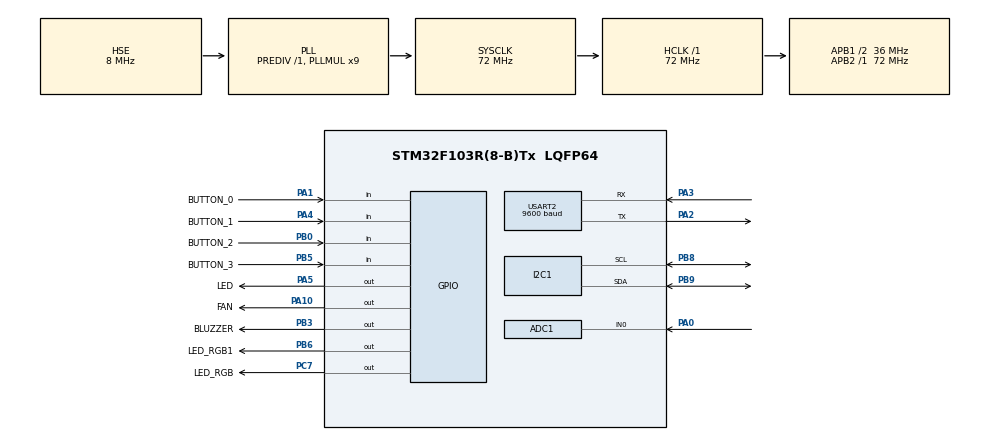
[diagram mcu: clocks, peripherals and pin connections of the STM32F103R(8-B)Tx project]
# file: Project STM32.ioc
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ADC1.Channel-0\#ChannelRegularConversion=ADC_CHANNEL_0
ADC1.ContinuousConvMode=ENABLE
ADC1.NbrOfConversionFlag=1
ADC1.Rank-0\#ChannelRegularConversion=1
ADC1.SamplingTime-0\#ChannelRegularConversion=ADC_SAMPLETIME_1CYCLE_5
ADC1.master=1
Mcu.Family=STM32F1
Mcu.Name=STM32F103R(8-B)Tx
Mcu.Package=LQFP64
NVIC.PriorityGroup=NVIC_PRIORITYGROUP_4
NVIC.TIM2_IRQn=true\:0\:0\:false\:false\:true\:true\:true\:true
NVIC.USART2_IRQn=true\:0\:0\:false\:false\:true\:true\:true\:true
PA0-WKUP.Signal=ADCx_IN0
PA1.GPIO_Label=BUTTON_0
PA1.GPIO_PuPd=GPIO_PULLUP
PA1.Signal=GPIO_Input
PA10.GPIO_Label=FAN
PA10.GPIO_ModeDefaultOutputPP=GPIO_MODE_OUTPUT_PP
PA10.GPIO_PuPd=GPIO_PULLUP
PA10.GPIO_Speed=GPIO_SPEED_FREQ_LOW
PA10.PinState=GPIO_PIN_SET
PA10.Signal=GPIO_Output
PA13.Mode=Serial_Wire
PA13.Signal=SYS_JTMS-SWDIO
PA14.Mode=Serial_Wire
PA14.Signal=SYS_JTCK-SWCLK
PA2.Mode=Asynchronous
PA2.Signal=USART2_TX
PA3.Mode=Asynchronous
PA3.Signal=USART2_RX
PA4.GPIO_Label=BUTTON_1
PA4.GPIO_PuPd=GPIO_PULLUP
PA4.Signal=GPIO_Input
PA5.GPIO_Label=LED
PA5.GPIO_PuPd=GPIO_PULLUP
PA5.Signal=GPIO_Output
PB0.GPIO_Label=BUTTON_2
PB0.GPIO_PuPd=GPIO_PULLUP
PB0.Signal=GPIO_Input
PB3.GPIO_Label=BLUZZER
PB3.GPIO_ModeDefaultOutputPP=GPIO_MODE_OUTPUT_PP
PB3.GPIO_PuPd=GPIO_PULLUP
PB3.Signal=GPIO_Output
PB5.GPIO_Label=BUTTON_3
PB5.GPIO_PuPd=GPIO_PULLUP
PB5.Signal=GPIO_Input
PB6.GPIO_Label=LED_RGB1
PB6.GPIO_PuPd=GPIO_PULLUP
PB6.Signal=GPIO_Output
PB8.GPIO_Speed=GPIO_SPEED_FREQ_HIGH
PB8.Mode=I2C
PB8.Signal=I2C1_SCL
PB9.Mode=I2C
PB9.Signal=I2C1_SDA
PC7.GPIO_Label=LED_RGB
PC7.GPIO_PuPd=GPIO_PULLUP
PC7.Signal=GPIO_Output
PD0-OSC_IN.Mode=HSE-External-Oscillator
PD0-OSC_IN.Signal=RCC_OSC_IN
PD1-OSC_OUT.Mode=HSE-External-Oscillator
PD1-OSC_OUT.Signal=RCC_OSC_OUT
ProjectManager.HeapSize=0x200
ProjectManager.StackSize=0x400
ProjectManager.TargetToolchain=STM32CubeIDE
RCC.AHBFreq_Value=72000000
RCC.APB1CLKDivider=RCC_HCLK_DIV2
RCC.APB1Freq_Value=36000000
RCC.APB1TimFreq_Value=72000000
RCC.APB2Freq_Value=72000000
RCC.APB2TimFreq_Value=72000000
RCC.HCLKFreq_Value=72000000
RCC.PLLMUL=RCC_PLL_MUL9
RCC.PLLSourceVirtual=RCC_PLLSOURCE_HSE
RCC.SYSCLKFreq_VALUE=72000000
RCC.SYSCLKSource=RCC_SYSCLKSOURCE_PLLCLK
RCC.USBFreq_Value=72000000
SH.ADCx_IN0.0=ADC1_IN0,IN0
TIM2.Period=99
TIM2.Prescaler=7199
USART2.BaudRate=9600
USART2.VirtualMode=VM_ASYNC
VP_TIM2_VS_ClockSourceINT.Mode=Internal
board=custom

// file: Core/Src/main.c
/* USER CODE BEGIN Header */
/**
  ******************************************************************************
  * @file           : main.c
  * @brief          : Main program body
  ******************************************************************************
  * @attention
  *
  * <h2><center>&copy; Copyright (c) 2022 STMicroelectronics.
  * All rights reserved.</center></h2>
  *
  * This software component is licensed by ST under BSD 3-Clause license,
  * the "License"; You may not use this file except in compliance with the
  * License. You may obtain a copy of the License at:
  *                        opensource.org/licenses/BSD-3-Clause
  *
  ******************************************************************************
  */
/* USER CODE END Header */

#include "main.h"

/* USER CODE BEGIN Includes */
#include "software_timer.h"
#include "i2c-lcd.h"
#include "dht20.h"
#include "uart_reading.h"
#include "output_led.h"
#include "scheduler.h"
#include "rain_sensor.h"
#include <stdio.h>
#include "input_button.h"
#include <stdlib.h>
#include "manual_fsm.h"
/* USER CODE END Includes */

/* USER CODE BEGIN PTD */

uint8_t buttonState = 0;

/* USER CODE END PTD */

ADC_HandleTypeDef hadc1;

I2C_HandleTypeDef hi2c1;

TIM_HandleTypeDef htim2;

UART_HandleTypeDef huart2;

void SystemClock_Config(void);
static void MX_GPIO_Init(void);
static void MX_I2C1_Init(void);
static void MX_USART2_UART_Init(void);
static void MX_TIM2_Init(void);
static void MX_ADC1_Init(void);
void send_data(void);

/* USER CODE BEGIN 0 */
void HAL_UART_RxCpltCallback(UART_HandleTypeDef *huart){
	if (huart->Instance == USART2){
		HAL_UART_Transmit(&huart2, &buffer_byte, 1, 500);
		buffer[index_buffer] = buffer_byte;
		index_buffer++;
		if (index_buffer == MAX_BUFFER_SIZE) index_buffer = 0;
		buffer_flag = 1;
		HAL_UART_Receive_IT(&huart2, &buffer_byte, 1);
	}
}
/* USER CODE END 0 */

int main(void)
{

  /* MCU Configuration--------------------------------------------------------*/

  /* Reset of all peripherals, Initializes the Flash interface and the Systick. */
  HAL_Init();

  /* Configure the system clock */
  SystemClock_Config();

  /* Initialize all configured peripherals */
  MX_GPIO_Init();
  MX_I2C1_Init();
  MX_USART2_UART_Init();
  MX_TIM2_Init();
  MX_ADC1_Init();
  /* USER CODE BEGIN 2 */
  HAL_TIM_Base_Start_IT(&htim2);

  HAL_UART_Receive_IT(&huart2, &buttonState, 1);
  HAL_ADC_Start(&hadc1);
  Scan_Addr(); //Scan the address of I2C device
  /* USER CODE END 2 */

  /* Infinite loop */
  /* USER CODE BEGIN WHILE */

  lcd_greeting();
  init_read();
  fsmInit();
  timerSet(300,3);
  SCH_AddTask(notification_lights,0,100);
  SCH_AddTask(commandParser,0,100);
  SCH_AddTask(send_data,0,500);
  SCH_AddTask(fsmRun,0,10);

  while (1)
  {
	  /* USER CODE END WHILE */
	  SCH_Dispatch();
  }
}

void SystemClock_Config(void)
{
  RCC_OscInitTypeDef RCC_OscInitStruct = {0};
  RCC_ClkInitTypeDef RCC_ClkInitStruct = {0};
  RCC_PeriphCLKInitTypeDef PeriphClkInit = {0};

  /** Initializes the RCC Oscillators according to the specified parameters
  * in the RCC_OscInitTypeDef structure.
  */
  RCC_OscInitStruct.OscillatorType = RCC_OSCILLATORTYPE_HSE;
  RCC_OscInitStruct.HSEState = RCC_HSE_ON;
  RCC_OscInitStruct.HSEPredivValue = RCC_HSE_PREDIV_DIV1;
  RCC_OscInitStruct.HSIState = RCC_HSI_ON;
  RCC_OscInitStruct.PLL.PLLState = RCC_PLL_ON;
  RCC_OscInitStruct.PLL.PLLSource = RCC_PLLSOURCE_HSE;
  RCC_OscInitStruct.PLL.PLLMUL = RCC_PLL_MUL9;
  if (HAL_RCC_OscConfig(&RCC_OscInitStruct) != HAL_OK)
  {
    Error_Handler();
  }

  /** Initializes the CPU, AHB and APB buses clocks
  */
  RCC_ClkInitStruct.ClockType = RCC_CLOCKTYPE_HCLK|RCC_CLOCKTYPE_SYSCLK
                              |RCC_CLOCKTYPE_PCLK1|RCC_CLOCKTYPE_PCLK2;
  RCC_ClkInitStruct.SYSCLKSource = RCC_SYSCLKSOURCE_PLLCLK;
  RCC_ClkInitStruct.AHBCLKDivider = RCC_SYSCLK_DIV1;
  RCC_ClkInitStruct.APB1CLKDivider = RCC_HCLK_DIV2;
  RCC_ClkInitStruct.APB2CLKDivider = RCC_HCLK_DIV1;

  if (HAL_RCC_ClockConfig(&RCC_ClkInitStruct, FLASH_LATENCY_2) != HAL_OK)
  {
    Error_Handler();
  }
  PeriphClkInit.PeriphClockSelection = RCC_PERIPHCLK_ADC;
  PeriphClkInit.AdcClockSelection = RCC_ADCPCLK2_DIV2;
  if (HAL_RCCEx_PeriphCLKConfig(&PeriphClkInit) != HAL_OK)
  {
    Error_Handler();
  }
}

static void MX_ADC1_Init(void)
{

  ADC_ChannelConfTypeDef sConfig = {0};

  /** Common config
  */
  hadc1.Instance = ADC1;
  hadc1.Init.ScanConvMode = ADC_SCAN_DISABLE;
  hadc1.Init.ContinuousConvMode = ENABLE;
  hadc1.Init.DiscontinuousConvMode = DISABLE;
  hadc1.Init.ExternalTrigConv = ADC_SOFTWARE_START;
  hadc1.Init.DataAlign = ADC_DATAALIGN_RIGHT;
  hadc1.Init.NbrOfConversion = 1;
  if (HAL_ADC_Init(&hadc1) != HAL_OK)
  {
    Error_Handler();
  }

  /** Configure Regular Channel
  */
  sConfig.Channel = ADC_CHANNEL_0;
  sConfig.Rank = ADC_REGULAR_RANK_1;
  sConfig.SamplingTime = ADC_SAMPLETIME_1CYCLE_5;
  if (HAL_ADC_ConfigChannel(&hadc1, &sConfig) != HAL_OK)
  {
    Error_Handler();
  }

}

static void MX_I2C1_Init(void)
{

  hi2c1.Instance = I2C1;
  hi2c1.Init.ClockSpeed = 100000;
  hi2c1.Init.DutyCycle = I2C_DUTYCYCLE_2;
  hi2c1.Init.OwnAddress1 = 0;
  hi2c1.Init.AddressingMode = I2C_ADDRESSINGMODE_7BIT;
  hi2c1.Init.DualAddressMode = I2C_DUALADDRESS_DISABLE;
  hi2c1.Init.OwnAddress2 = 0;
  hi2c1.Init.GeneralCallMode = I2C_GENERALCALL_DISABLE;
  hi2c1.Init.NoStretchMode = I2C_NOSTRETCH_DISABLE;
  if (HAL_I2C_Init(&hi2c1) != HAL_OK)
  {
    Error_Handler();
  }

}

static void MX_TIM2_Init(void)
{

  TIM_ClockConfigTypeDef sClockSourceConfig = {0};
  TIM_MasterConfigTypeDef sMasterConfig = {0};

  htim2.Instance = TIM2;
  htim2.Init.Prescaler = 7199;
  htim2.Init.CounterMode = TIM_COUNTERMODE_UP;
  htim2.Init.Period = 99;
  htim2.Init.ClockDivision = TIM_CLOCKDIVISION_DIV1;
  htim2.Init.AutoReloadPreload = TIM_AUTORELOAD_PRELOAD_DISABLE;
  if (HAL_TIM_Base_Init(&htim2) != HAL_OK)
  {
    Error_Handler();
  }
  sClockSourceConfig.ClockSource = TIM_CLOCKSOURCE_INTERNAL;
  if (HAL_TIM_ConfigClockSource(&htim2, &sClockSourceConfig) != HAL_OK)
  {
    Error_Handler();
  }
  sMasterConfig.MasterOutputTrigger = TIM_TRGO_RESET;
  sMasterConfig.MasterSlaveMode = TIM_MASTERSLAVEMODE_DISABLE;
  if (HAL_TIMEx_MasterConfigSynchronization(&htim2, &sMasterConfig) != HAL_OK)
  {
    Error_Handler();
  }

}

static void MX_USART2_UART_Init(void)
{

  huart2.Instance = USART2;
  huart2.Init.BaudRate = 9600;
  huart2.Init.WordLength = UART_WORDLENGTH_8B;
  huart2.Init.StopBits = UART_STOPBITS_1;
  huart2.Init.Parity = UART_PARITY_NONE;
  huart2.Init.Mode = UART_MODE_TX_RX;
  huart2.Init.HwFlowCtl = UART_HWCONTROL_NONE;
  huart2.Init.OverSampling = UART_OVERSAMPLING_16;
  if (HAL_UART_Init(&huart2) != HAL_OK)
  {
    Error_Handler();
  }

}

static void MX_GPIO_Init(void)
{
  GPIO_InitTypeDef GPIO_InitStruct = {0};

  /* GPIO Ports Clock Enable */
  __HAL_RCC_GPIOD_CLK_ENABLE();
  __HAL_RCC_GPIOA_CLK_ENABLE();
  __HAL_RCC_GPIOB_CLK_ENABLE();
  __HAL_RCC_GPIOC_CLK_ENABLE();

  /*Configure GPIO pin Output Level */
  HAL_GPIO_WritePin(LED_GPIO_Port, LED_Pin, GPIO_PIN_RESET);

  /*Configure GPIO pin Output Level */
  HAL_GPIO_WritePin(LED_RGB_GPIO_Port, LED_RGB_Pin, GPIO_PIN_RESET);

  /*Configure GPIO pin Output Level */
  HAL_GPIO_WritePin(FAN_GPIO_Port, FAN_Pin, GPIO_PIN_SET);

  /*Configure GPIO pin Output Level */
  HAL_GPIO_WritePin(GPIOB, BLUZZER_Pin|LED_RGB1_Pin, GPIO_PIN_RESET);

  /*Configure GPIO pins : BUTTON_0_Pin BUTTON_1_Pin */
  GPIO_InitStruct.Pin = BUTTON_0_Pin|BUTTON_1_Pin;
  GPIO_InitStruct.Mode = GPIO_MODE_INPUT;
  GPIO_InitStruct.Pull = GPIO_PULLUP;
  HAL_GPIO_Init(GPIOA, &GPIO_InitStruct);

  /*Configure GPIO pins : LED_Pin FAN_Pin */
  GPIO_InitStruct.Pin = LED_Pin|FAN_Pin;
  GPIO_InitStruct.Mode = GPIO_MODE_OUTPUT_PP;
  GPIO_InitStruct.Pull = GPIO_PULLUP;
  GPIO_InitStruct.Speed = GPIO_SPEED_FREQ_LOW;
  HAL_GPIO_Init(GPIOA, &GPIO_InitStruct);

  /*Configure GPIO pins : BUTTON_2_Pin BUTTON_3_Pin */
  GPIO_InitStruct.Pin = BUTTON_2_Pin|BUTTON_3_Pin;
  GPIO_InitStruct.Mode = GPIO_MODE_INPUT;
  GPIO_InitStruct.Pull = GPIO_PULLUP;
  HAL_GPIO_Init(GPIOB, &GPIO_InitStruct);

  /*Configure GPIO pin : LED_RGB_Pin */
  GPIO_InitStruct.Pin = LED_RGB_Pin;
  GPIO_InitStruct.Mode = GPIO_MODE_OUTPUT_PP;
  GPIO_InitStruct.Pull = GPIO_PULLUP;
  GPIO_InitStruct.Speed = GPIO_SPEED_FREQ_LOW;
  HAL_GPIO_Init(LED_RGB_GPIO_Port, &GPIO_InitStruct);

  /*Configure GPIO pins : BLUZZER_Pin LED_RGB1_Pin */
  GPIO_InitStruct.Pin = BLUZZER_Pin|LED_RGB1_Pin;
  GPIO_InitStruct.Mode = GPIO_MODE_OUTPUT_PP;
  GPIO_InitStruct.Pull = GPIO_PULLUP;
  GPIO_InitStruct.Speed = GPIO_SPEED_FREQ_LOW;
  HAL_GPIO_Init(GPIOB, &GPIO_InitStruct);

}

/* USER CODE BEGIN 4 */

void HAL_TIM_PeriodElapsedCallback(TIM_HandleTypeDef *htim)
{
	timerRun();
	SCH_Update();
}
/* USER CODE END 4 */

void Error_Handler(void)
{
  __disable_irq();
  while (1)
  {
  }
}
